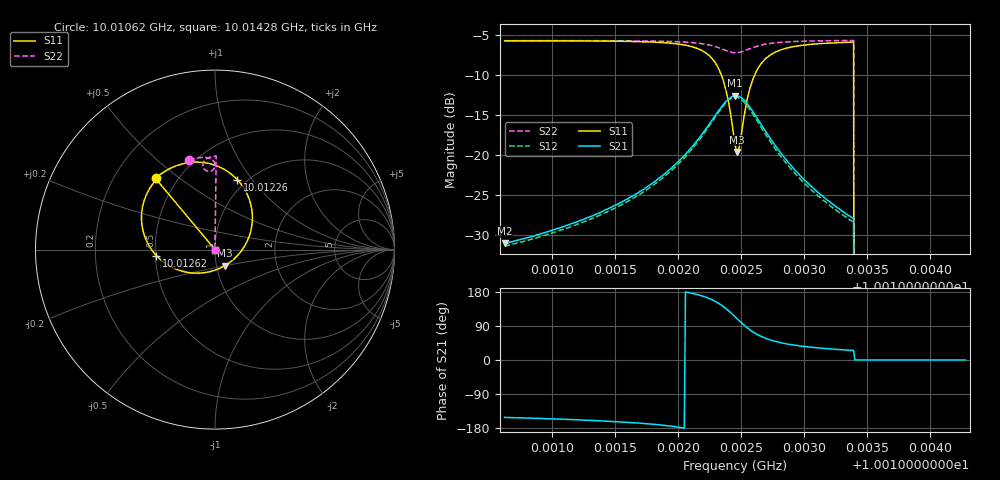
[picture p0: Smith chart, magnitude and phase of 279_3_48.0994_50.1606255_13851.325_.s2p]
#  HZ  S  RI  R  50.00
! Rohde & Schwarz Vector Network Analyzer
! Rohde-Schwarz,ZNB20-2Port,1311601062101988,3.16
! Created: UTC 12/23/2023, 4:02:34 AM
! freq[Hz]  re:S11  im:S11  re:S21  im:S21  re:S12  im:S12  re:S22  im:S22
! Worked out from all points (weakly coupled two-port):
!   401 points, 10.01062 GHz to 10.01428 GHz, reference 50 ohm
!   highest |S21| = -12.56 dB at 10.01245 GHz (marker M1); lowest = -31.0 dB at 10.01062 GHz (marker M2)
!   lowest |S11| = -19.6 dB at 10.01247 GHz (marker M3), VSWR 1.23, Z = 54.9 - j9.92 ohm
!   |S11| at or under -10 dB: 10.01234 GHz to 10.01261 GHz (262.8 kHz wide, 0.00262 % of centre); 10.01339 GHz to end of sweep
!   |S22| runs from - to -5.7 dB; largest |S21 - S12| = 0.012
!   S11 on the Smith chart (normalised r, x): 10.01062 GHz: 0.38, +0.42; 10.01226 GHz: 0.90, +0.85; 10.01262 GHz: 0.51, -0.04; 10.01428 GHz: 1.00, +0.00
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1.0010623e10  -0.3286 0.4006  -0.0247 -0.0136  -0.023 -0.0143  -0.1431 0.4994
1.0011236e10  -0.2713 0.4407  -0.0368 -0.0145  -0.0346 -0.0158  -0.1014 0.5096
1.0011583e10  -0.2194 0.4656  -0.0507 -0.0144  -0.048 -0.0163  -0.0751 0.5131
1.0011848e10  -0.1524 0.4836  -0.0709 -0.0114  -0.0678 -0.0147  -0.0516 0.5132
1.0012113e10  -0.0173 0.4755  -0.1134 0.00784  -0.1101 0.00118  -0.0219 0.5049
1.0012259e10  0.1233 0.3905  -0.1525 0.0541  -0.1514 0.0448  -0.00349 0.4857
1.0012323e10  0.1878 0.2889  -0.1637 0.0986  -0.1657 0.0871  0.000482 0.4693
1.0012369e10  0.2084 0.1772  -0.1593 0.1409  -0.1627 0.1311  -0.00295 0.4545
1.0012415e10  0.1781 0.044  -0.1331 0.1869  -0.1388 0.1781  -0.0144 0.4412
1.0012451e10  0.1054 -0.0527  -0.0961 0.2149  -0.1018 0.2074  -0.0286 0.4356
1.0012469e10  0.0552 -0.0893  -0.0739 0.2231  -0.0797 0.216  -0.0366 0.4354
1.0012488e10  -0.00205 -0.1153  -0.0508 0.2267  -0.0557 0.2199  -0.0443 0.4371
1.0012533e10  -0.147 -0.1281  0.00399 0.2171  -0.0013 0.2106  -0.0593 0.4474
1.001257e10  -0.2441 -0.0961  0.0374 0.1958  0.0307 0.1899  -0.0658 0.4588
1.0012616e10  -0.327 -0.033  0.0618 0.1649  0.0547 0.1599  -0.0677 0.4723
1.0012698e10  -0.395 0.0829  0.0766 0.1167  0.0692 0.1138  -0.0619 0.4909
1.0012808e10  -0.4093 0.1945  0.0725 0.076  0.0665 0.0747  -0.0492 0.5047
1.0013064e10  -0.3738 0.3227  0.053 0.0347  0.0487 0.0352  -0.0219 0.5169
1.0013374e10  -0.3288 0.3879  0.0371 0.0177  0.0343 0.0186  0.00509 0.5209
1.001342e10  0 0  0 0  0 0  0 0
1.0013676e10  0 0  0 0  0 0  0 0
1.0014279e10  0 0  0 0  0 0  0 0
